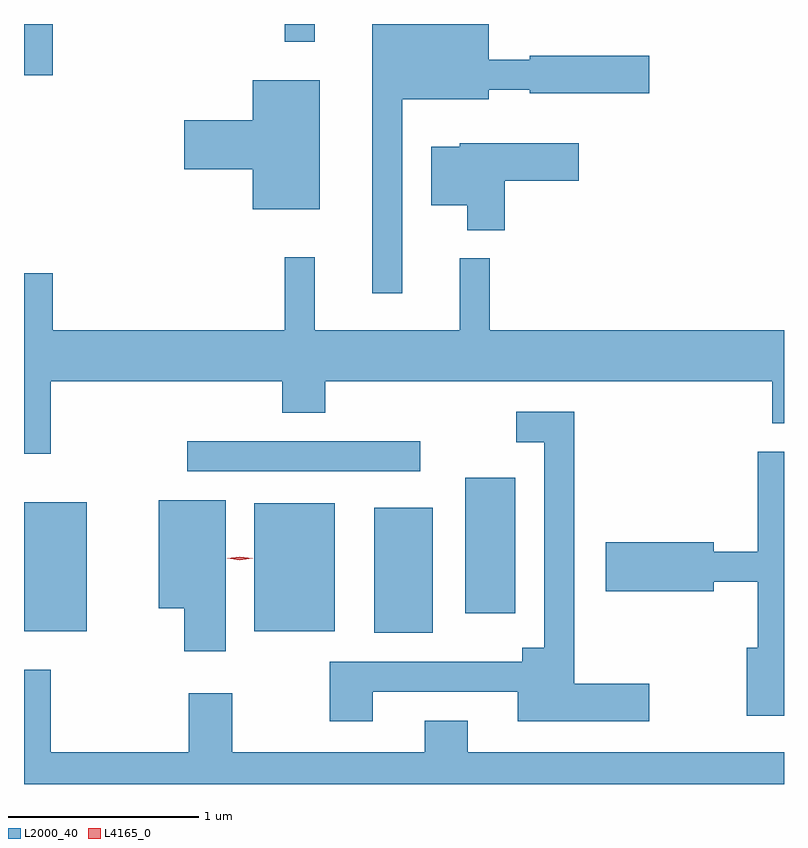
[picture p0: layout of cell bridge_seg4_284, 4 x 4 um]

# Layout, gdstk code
import gdstk
lib = gdstk.Library(unit=1e-6, precision=1e-09)
def R(c, l, rs):  # rectangles x0, y0, x1, y1
    for r in rs: c.add(gdstk.rectangle(r[:2], r[2:], *l))
def P(c, l, *ps):  # polygons
    for p in ps: c.add(gdstk.Polygon(p, *l))
L2000_40 = (2000, 40)
L4165_0 = (4165, 0)

bridge_seg4_284 = lib.new_cell('bridge_seg4_284')
R(bridge_seg4_284, L2000_40, [(536.716,1364.451,537.024,1365.109), (534.873,1364.461,535.204,1365.139), (536.086,1364.461,536.509,1365.134), (537.196,1364.556,537.459,1365.269), (535.733,1365.301,536.958,1365.459), (534.873,1367.386,535.024,1367.656), (536.246,1367.563,536.404,1367.656)])
P(bridge_seg4_284, L2000_40, [(536.864,1367.261),(537.319,1367.261),(537.319,1367.311),(537.536,1367.311),(537.536,1367.291),(538.164,1367.291),(538.164,1367.489),(537.536,1367.489),(537.536,1367.469),(537.319,1367.469),(537.319,1367.656),(536.706,1367.656),(536.706,1366.238),(536.864,1366.238)],
  [(536.429,1367.359),(536.076,1367.359),(536.076,1367.149),(535.716,1367.149),(535.716,1366.891),(536.076,1366.891),(536.076,1366.681),(536.429,1366.681)],
  [(537.404,1366.831),(537.794,1366.831),(537.794,1367.029),(537.166,1367.029),(537.166,1367.009),(537.016,1367.009),(537.016,1366.701),(537.206,1366.701),(537.206,1366.571),(537.404,1366.571)],
  [(535.014,1365.776),(536.231,1365.776),(536.231,1365.611),(536.459,1365.611),(536.459,1365.776),(538.811,1365.776),(538.811,1365.556),(538.873,1365.556),(538.873,1366.044),(537.324,1366.044),(537.324,1366.423),(537.166,1366.423),(537.166,1366.044),(536.404,1366.044),(536.404,1366.428),(536.246,1366.428),(536.246,1366.044),(535.024,1366.044),(535.024,1366.344),(534.873,1366.344),(534.873,1365.393),(535.014,1365.393)],
  [(536.709,1364.141),(537.471,1364.141),(537.471,1363.986),(538.164,1363.986),(538.164,1364.184),(537.769,1364.184),(537.769,1365.614),(537.463,1365.614),(537.463,1365.456),(537.611,1365.456),(537.611,1364.374),(537.496,1364.374),(537.496,1364.299),(536.481,1364.299),(536.481,1363.986),(536.709,1363.986)],
  [(538.873,1365.404),(538.736,1365.404),(538.736,1364.879),(538.504,1364.879),(538.504,1364.929),(537.936,1364.929),(537.936,1364.671),(538.504,1364.671),(538.504,1364.721),(538.736,1364.721),(538.736,1364.374),(538.676,1364.374),(538.676,1364.016),(538.873,1364.016)],
  [(535.934,1365.149),(535.581,1365.149),(535.581,1364.581),(535.716,1364.581),(535.716,1364.356),(535.934,1364.356)],
  [(538.873,1363.824),(537.209,1363.824),(537.209,1363.989),(536.981,1363.989),(536.981,1363.824),(535.969,1363.824),(535.969,1364.134),(535.741,1364.134),(535.741,1363.824),(535.014,1363.824),(535.014,1364.258),(534.873,1364.258),(534.873,1363.656),(538.873,1363.656)])
P(bridge_seg4_284, L4165_0, [(536.009,1364.833),(535.943,1364.843),(535.942,1364.843),(535.943,1364.844),(536.009,1364.853),(536.076,1364.844),(536.076,1364.843),(536.076,1364.843)])

lib.write_gds('bridge_seg4_284.gds')
